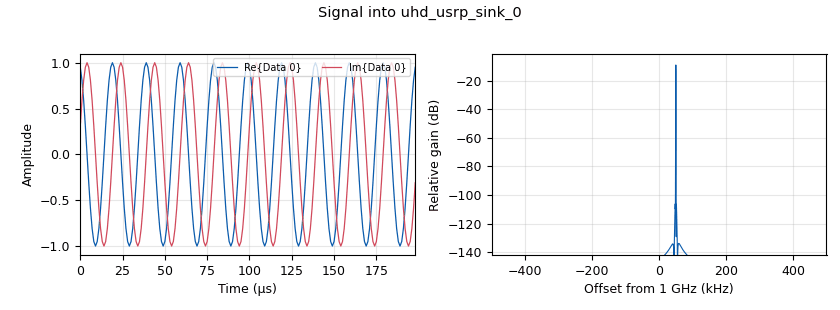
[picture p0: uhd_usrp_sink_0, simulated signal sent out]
<?xml version='1.0' encoding='utf-8'?>
<?grc format='1' created='3.7.12'?>
<flow_graph>
<block>
<key>options</key>
<param><key>id</key><value>test_grc</value></param>
<param><key>generate_options</key><value>no_gui</value></param>
<param><key>run_options</key><value>run</value></param>
</block>
<block>
<key>variable</key>
<param><key>id</key><value>samp_rate</value></param>
<param><key>value</key><value>1e6</value></param>
</block>
<block>
<key>blocks_file_sink</key>
<param><key>id</key><value>blocks_file_sink_0</value></param>
<param><key>file</key><value>wy.cfile</value></param>
<param><key>type</key><value>complex</value></param>
</block>
<block>
<key>blocks_head</key>
<param><key>id</key><value>blocks_head_0</value></param>
<param><key>num_items</key><value>int(4*samp_rate)</value></param>
<param><key>type</key><value>complex</value></param>
</block>
<block>
<key>blocks_message_debug</key>
<param><key>id</key><value>blocks_message_debug_0</value></param>
<param><key>_enabled</key><value>0</value></param>
</block>
<block>
<key>blocks_pdu_to_tagged_stream</key>
<param><key>id</key><value>blocks_pdu_to_tagged_stream_0</value></param>
<param><key>type</key><value>complex</value></param>
<param><key>tag</key><value>packet_len</value></param>
</block>
<block>
<key>blocks_tag_debug</key>
<param><key>id</key><value>blocks_tag_debug_0</value></param>
<param><key>_enabled</key><value>0</value></param>
<param><key>type</key><value>complex</value></param>
</block>
<block>
<key>epy_block</key>
<param><key>id</key><value>bursts_gen_0</value></param>
<param><key>_source_code</key><value>"""
Embedded Python Blocks:

Each time this file is saved, GRC will instantiate the first class it finds
to get ports and parameters of your block. The arguments to __init__  will
be the parameters. All of them are required to have default values!
"""

#import numpy as np
#from gnuradio import gr
#import pmt


import numpy as np
from gnuradio import gr
import pmt
from time import sleep
import threading

class bursts_gen(gr.basic_block):
    def __init__(self):  # only default arguments here
        gr.basic_block.__init__(
            self,
            name='Bursts generator',
            in_sig=[],
            out_sig=[]
        )
        self.message_port_register_out(pmt.intern("bursts"))
        self.f_n = 0.05
        self.N = 1000
        self.samples = pmt.init_c32vector(self.N,np.exp(1j*np.arange(0,self.N)*2*np.pi*self.f_n))

        self.base_time = 0.2
        self.burst_spacing = 0.1
        self.sleep_before = 0.05
        self.sleep_between = self.burst_spacing
        self.threads = []
#        self.generate()

    def start(self):
        t = threading.Thread(target=self.generate)
        self.threads.append(t)
        t.start()
        return gr.basic_block.start(self)
    def stop(self):
        for t in self.threads:
            t.join()
        return gr.basic_block.stop(self)

    def generate(self):
        sleep(self.sleep_before)
        for i in xrange(0,10):
            tx_time = pmt.make_tuple(
              pmt.from_uint64(int(self.base_time + i * self.burst_spacing)),
              pmt.from_double((self.base_time + i * self.burst_spacing) % 1)
            )
            pdu_header = pmt.dict_add(pmt.make_dict(),pmt.intern('tx_time'),tx_time)
            burst = pmt.cons(pdu_header,self.samples)
            self.message_port_pub(pmt.intern("bursts"), burst)
            sleep(self.sleep_between)

</value></param>
</block>
<block>
<key>epy_module</key>
<param><key>id</key><value>epy_module_0</value></param>
<param><key>source_code</key><value># this module will be imported in the into your flowgraph
tb.uhd_usrp_sink_0.set_start_time(uhd.time_spec(0.0))
</value></param>
<param><key>_enabled</key><value>0</value></param>
</block>
<block>
<key>uhd_usrp_sink</key>
<param><key>id</key><value>uhd_usrp_sink_0</value></param>
<param><key>ant0</key><value>TX/RX</value></param>
<param><key>center_freq0</key><value>1e9</value></param>
<param><key>norm_gain0</key><value>False</value></param>
<param><key>gain0</key><value>40</value></param>
<param><key>clock_rate</key><value>26e6</value></param>
<param><key>dev_args</key><value>""</value></param>
<param><key>type</key><value>fc32</value></param>
<param><key>samp_rate</key><value>samp_rate</value></param>
<param><key>hide_cmd_port</key><value>False</value></param>
<param><key>hide_lo_controls</key><value>True</value></param>
<param><key>sync</key><value></value></param>
<param><key>len_tag_name</key><value>"packet_len"</value></param>
</block>
<block>
<key>uhd_usrp_source</key>
<param><key>id</key><value>uhd_usrp_source_0</value></param>
<param><key>ant0</key><value></value></param>
<param><key>center_freq0</key><value>1e9</value></param>
<param><key>dc_offs_enb0</key><value>""</value></param>
<param><key>iq_imbal_enb0</key><value>""</value></param>
<param><key>norm_gain0</key><value>False</value></param>
<param><key>gain0</key><value>60</value></param>
<param><key>clock_rate</key><value>0.0</value></param>
<param><key>dev_args</key><value>""</value></param>
<param><key>type</key><value>fc32</value></param>
<param><key>samp_rate</key><value>samp_rate</value></param>
<param><key>hide_cmd_port</key><value>False</value></param>
<param><key>hide_lo_controls</key><value>True</value></param>
<param><key>sync</key><value></value></param>
</block>
<connection><source_block_id>blocks_head_0</source_block_id><sink_block_id>blocks_file_sink_0</sink_block_id><source_key>0</source_key><sink_key>0</sink_key></connection>
<connection><source_block_id>blocks_pdu_to_tagged_stream_0</source_block_id><sink_block_id>blocks_tag_debug_0</sink_block_id><source_key>0</source_key><sink_key>0</sink_key></connection>
<connection><source_block_id>blocks_pdu_to_tagged_stream_0</source_block_id><sink_block_id>uhd_usrp_sink_0</sink_block_id><source_key>0</source_key><sink_key>0</sink_key></connection>
<connection><source_block_id>bursts_gen_0</source_block_id><sink_block_id>blocks_message_debug_0</sink_block_id><source_key>bursts</source_key><sink_key>print_pdu</sink_key></connection>
<connection><source_block_id>bursts_gen_0</source_block_id><sink_block_id>blocks_pdu_to_tagged_stream_0</sink_block_id><source_key>bursts</source_key><sink_key>pdus</sink_key></connection>
<connection><source_block_id>uhd_usrp_source_0</source_block_id><sink_block_id>blocks_head_0</sink_block_id><source_key>0</source_key><sink_key>0</sink_key></connection>
</flow_graph>
